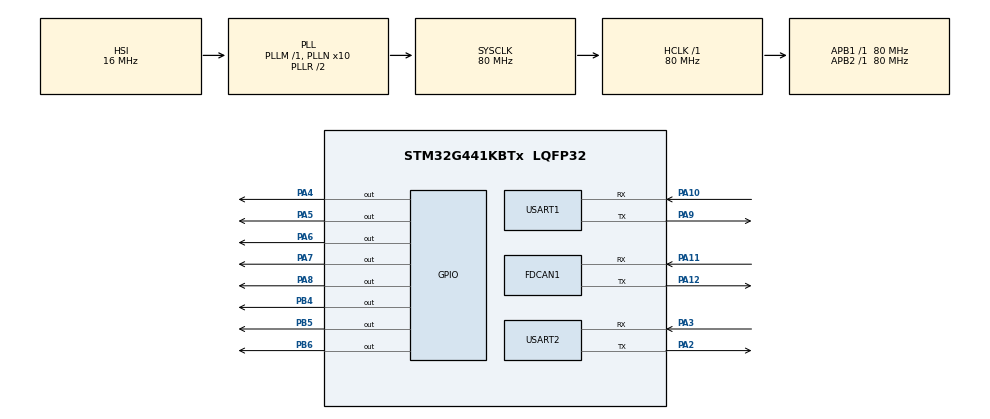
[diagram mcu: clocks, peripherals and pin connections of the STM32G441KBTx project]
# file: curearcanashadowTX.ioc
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FDCAN1.CalculateBaudRateNominal=2000000
FDCAN1.CalculateTimeBitNominal=500
FDCAN1.CalculateTimeQuantumNominal=50.0
FDCAN1.FrameFormat=FDCAN_FRAME_FD_NO_BRS
FDCAN1.NominalPrescaler=4
FDCAN1.NominalTimeSeg1=7
FDCAN1.NominalTimeSeg2=2
Mcu.Family=STM32G4
Mcu.Name=STM32G441KBTx
Mcu.Package=LQFP32
NVIC.FDCAN1_IT0_IRQn=true\:0\:0\:false\:false\:true\:true\:true\:true
NVIC.FDCAN1_IT1_IRQn=true\:0\:0\:false\:false\:true\:true\:true\:true
NVIC.PriorityGroup=NVIC_PRIORITYGROUP_4
PA10.Mode=Asynchronous
PA10.Signal=USART1_RX
PA11.Mode=FDCAN_Activate
PA11.Signal=FDCAN1_RX
PA12.Mode=FDCAN_Activate
PA12.Signal=FDCAN1_TX
PA13.Mode=Trace_Asynchronous_SW
PA13.Signal=SYS_JTMS-SWDIO
PA14.Mode=Trace_Asynchronous_SW
PA14.Signal=SYS_JTCK-SWCLK
PA2.Mode=Asynchronous
PA2.Signal=USART2_TX
PA3.Mode=Asynchronous
PA3.Signal=USART2_RX
PA4.Signal=GPIO_Output
PA5.Signal=GPIO_Output
PA6.Signal=GPIO_Output
PA7.Signal=GPIO_Output
PA8.Signal=GPIO_Output
PA9.Mode=Asynchronous
PA9.Signal=USART1_TX
PB3.Mode=Trace_Asynchronous_SW
PB3.Signal=SYS_JTDO-SWO
PB4.Signal=GPIO_Output
PB5.Signal=GPIO_Output
PB6.Signal=GPIO_Output
PF0-OSC_IN.Mode=HSE-External-Oscillator
PF0-OSC_IN.Signal=RCC_OSC_IN
PF1-OSC_OUT.Mode=HSE-External-Oscillator
PF1-OSC_OUT.Signal=RCC_OSC_OUT
ProjectManager.HeapSize=0x200
ProjectManager.StackSize=0x400
ProjectManager.TargetToolchain=STM32CubeIDE
RCC.ADC12Freq_Value=80000000
RCC.AHBFreq_Value=80000000
RCC.APB1Freq_Value=80000000
RCC.APB1TimFreq_Value=80000000
RCC.APB2Freq_Value=80000000
RCC.APB2TimFreq_Value=80000000
RCC.CortexFreq_Value=80000000
RCC.EXTERNAL_CLOCK_VALUE=12288000
RCC.HCLKFreq_Value=80000000
RCC.HSE_VALUE=16000000
RCC.HSI48_VALUE=48000000
RCC.HSI_VALUE=16000000
RCC.LSE_VALUE=32768
RCC.PLLN=10
RCC.SYSCLKFreq_VALUE=80000000
RCC.SYSCLKSource=RCC_SYSCLKSOURCE_PLLCLK
RCC.USBFreq_Value=80000000
RCC.VCOOutputFreq_Value=160000000
USART1.VirtualMode-Asynchronous=VM_ASYNC
USART2.VirtualMode-Asynchronous=VM_ASYNC
VP_SYS_VS_DBSignals.Mode=DisableDeadBatterySignals
board=custom

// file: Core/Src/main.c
/* USER CODE BEGIN Header */
/**
  ******************************************************************************
  * @file           : main.c
  * @brief          : Main program body
  ******************************************************************************
  * @attention
  *
  * Copyright (c) 2026 STMicroelectronics.
  * All rights reserved.
  *
  * This software is licensed under terms that can be found in the LICENSE file
  * in the root directory of this software component.
  * If no LICENSE file comes with this software, it is provided AS-IS.
  *
  ******************************************************************************
  */
/**
 * CAN FD -> UART(ESP32) bridge (この main.c 1 ファイルで完結)
 *
 * FDCAN1 で受信した全フレームを (ID 問わず、中身を解釈せず) USART2 で ESP32 に垂れ流す。
 * パースは ESP32 側で行うので、読み取る CAN を変えても STM32 側は変更不要。
 *
 * 安全方針 (既存の機構に影響を与えない / 取得して表示するだけ):
 *   - FDCAN はバスモニタ (リッスンオンリー) モード。ACK・エラーフレーム・送信を一切出さない
 *   - CAN 送信 API は一切呼ばない
 *   - USART2 は送信のみ (ESP32 からの入力は読まない)
 *   - 触る GPIO は FDCAN / USART1 / USART2 のピンと、基板上の LED のみ
 *
 * 配線 (TX-kiban / Cosmic_Juggernaut 回路図より):
 *   USART2 PA2(TX) -> ESP32 GPIO17 / PA3(RX) <- ESP32 GPIO16   921600bps (Bridge_Start で設定)
 *   USART1 PA9/PA10 = ST-Link VCP                                デバッグログ
 *   LED1: PA6=G (CAN 受信中), PA5=R (CAN エラー), PA4=B (転送バッファ溢れ)
 *
 * UART フレーム形式 (バイナリ, ESP32-controle/src/bridge_rx.cpp と一致させること):
 *   [0]    0xA5              SOF1
 *   [1]    0x5A              SOF2
 *   [2]    flags             bit0: 拡張ID, bit1: FDフレーム, bit2: BRS
 *   [3..6] CAN ID            uint32 little endian
 *   [7]    len               データ長 0..64
 *   [8..]  data[len]
 *   [last] CRC-8 (poly 0x07, init 0x00)   flags ～ data 末尾が対象
 *
 * 動作: 受信割り込みでリングバッファに積み、メインループで UART に吐き出す。
 *       バッファが溢れた場合は新しいフレームを捨てて drop をカウントする。
 *       1 秒ごとに受信統計と ID ごとの件数を USART1 に出す (診断用)。
 */
/* USER CODE END Header */
#include "main.h"
/* USER CODE BEGIN Includes */
#include <stdio.h>
#include <string.h>
/* USER CODE END Includes */
/* USER CODE BEGIN PD */
#define ESP_UART   huart2
#define DEBUG_UART huart1

/*
 * ESP32 への UART 速度。CubeMX の生成コードは 115200 だが、バス全体 (約 450 フレーム/秒 +
 * デバッグ ID) を流すには足りないので Bridge_Start() で上書きする (CubeMX 再生成でも消えない)。
 * ESP32-controle/include/config.h の BRIDGE_BAUD と一致させること。
 * 80MHz / 16 / 921600 -> 実際 919540bps (誤差 -0.2%)
 */
#define ESP_UART_BAUD 921600U

#define STATS_PERIOD_MS  1000U
#define RX_LED_HOLD_MS   100U

#define LED_RX_PORT  GPIOA
#define LED_RX_PIN   GPIO_PIN_6 /* LED1_G */
#define LED_ERR_PORT GPIOA
#define LED_ERR_PIN  GPIO_PIN_5 /* LED1_R */
#define LED_OVF_PORT GPIOA
#define LED_OVF_PIN  GPIO_PIN_4 /* LED1_B */

#define SOF1        0xA5U
#define SOF2        0x5AU
#define FLAG_EXT_ID 0x01U
#define FLAG_FD     0x02U
#define FLAG_BRS    0x04U

#define RING_SIZE   32U /* 2 の累乗 */
#define MAX_PAYLOAD 64U

#define ID_STATS_MAX 24U /* 既存ID + デバッグ8IDを同時に診断 */
#define DEBUG_V2_COUNT 8U
#define DEBUG_V2_TIMEOUT_MS 300U
/* USER CODE END PD */
FDCAN_HandleTypeDef hfdcan1;
UART_HandleTypeDef huart1;
UART_HandleTypeDef huart2;
/* USER CODE BEGIN PV */
/* 型は MAX_PAYLOAD などの定数 (PD) を使うのでここに置く */
typedef struct {
  uint32_t id;
  uint8_t flags;
  uint8_t len;
  uint8_t data[MAX_PAYLOAD];
} CanFrame;

typedef struct {
  uint32_t id;     /* bit31 = 拡張ID */
  uint32_t count;
  uint8_t len;     /* 最後に受信したデータ長 */
  uint8_t flags;   /* 最後に受信したフレームの FLAG_* */
} IdStat;

typedef struct {
  uint32_t id;
  volatile uint32_t validCount;
  volatile uint32_t badCount;
  volatile uint32_t seqGapCount;
  volatile uint32_t duplicateCount;
  volatile uint32_t lastTick;
  volatile uint32_t lastUptime;
  volatile uint8_t lastSeq;
  volatile uint8_t seen;
} DebugV2Stat;

static CanFrame ring[RING_SIZE];
static volatile uint32_t ringHead = 0U; /* ISR が進める */
static volatile uint32_t ringTail = 0U; /* メインループが進める */

static volatile uint32_t rxCount = 0U;
static volatile uint32_t dropCount = 0U;
static volatile uint32_t canLostCount = 0U;
static volatile uint32_t lastRxTick = 0U;
static uint32_t fwdCount = 0U;
static uint32_t uartErrorCount = 0U;
static uint32_t lastStatsTick = 0U;
static uint32_t lastDropCount = 0U;

/* 診断用: 1 秒間に受信した ID ごとの件数 (ISR で集計、ログ出力後にクリア) */
static IdStat idStats[ID_STATS_MAX];
static volatile uint32_t idStatsNum = 0U;
static volatile uint32_t idStatsOverflow = 0U; /* 種類が多すぎて数えられなかった件数 */

static DebugV2Stat debugV2[DEBUG_V2_COUNT] = {
  {.id = 0x301U}, {.id = 0x302U}, {.id = 0x303U}, {.id = 0x310U},
  {.id = 0x321U}, {.id = 0x322U}, {.id = 0x323U}, {.id = 0x324U}
};

static const uint8_t dlcToLen[16] = {0, 1, 2, 3, 4, 5, 6, 7,
                                     8, 12, 16, 20, 24, 32, 48, 64};
/* USER CODE END PV */
void SystemClock_Config(void);
static void MX_GPIO_Init(void);
static void MX_FDCAN1_Init(void);
static void MX_USART1_UART_Init(void);
static void MX_USART2_UART_Init(void);
/* USER CODE BEGIN PFP */
static void DebugPrint(const char *str);
static HAL_StatusTypeDef Bridge_Start(void);
static void Bridge_Poll(void);
/* USER CODE END PFP */
int main(void)
{
  /* MCU Configuration--------------------------------------------------------*/
  /* Reset of all peripherals, Initializes the Flash interface and the Systick. */
  HAL_Init();
  /* Configure the system clock */
  SystemClock_Config();
  /* Initialize all configured peripherals */
  MX_GPIO_Init();
  MX_USART1_UART_Init();
  MX_USART2_UART_Init();
  DebugPrint("\r\nBOOT: UART INIT OK\r\n");
  MX_FDCAN1_Init();
  DebugPrint("BOOT: FDCAN INIT OK\r\n");
  /* USER CODE BEGIN 2 */
  if (Bridge_Start() != HAL_OK)
  {
    DebugPrint("BRIDGE ERROR: FDCAN start failed\r\n");
    Error_Handler();
  }
  DebugPrint("BOOT: FDCAN START OK\r\n");
  DebugPrint("============================\r\n");
  DebugPrint("CAN FD RX -> UART(ESP32) BRIDGE\r\n");
  DebugPrint("CAN  : FD without BRS, 2 Mbps, all IDs, LISTEN ONLY\r\n");
  DebugPrint("V2   : watch 301-303,310,321-324 / 24B / timeout 300ms\r\n");
  DebugPrint("ESP  : USART2 PA2/PA3 921600\r\n");
  DebugPrint("============================\r\n");
/* USER CODE END 2 */
  /* Infinite loop */
  /* USER CODE BEGIN WHILE */
  while (1)
  {
    Bridge_Poll();
    /* CAN 受信割り込み / SysTick まで寝る */
    __WFI();
  }
}
void SystemClock_Config(void)
{
  RCC_OscInitTypeDef RCC_OscInitStruct = {0};
  RCC_ClkInitTypeDef RCC_ClkInitStruct = {0};
  /** Configure the main internal regulator output voltage
  */
  HAL_PWREx_ControlVoltageScaling(PWR_REGULATOR_VOLTAGE_SCALE1);
  /** Initializes the RCC Oscillators according to the specified parameters
  * in the RCC_OscInitTypeDef structure.
  */
  RCC_OscInitStruct.OscillatorType = RCC_OSCILLATORTYPE_HSI;
  RCC_OscInitStruct.HSIState = RCC_HSI_ON;
  RCC_OscInitStruct.HSICalibrationValue = RCC_HSICALIBRATION_DEFAULT;
  RCC_OscInitStruct.PLL.PLLState = RCC_PLL_ON;
  RCC_OscInitStruct.PLL.PLLSource = RCC_PLLSOURCE_HSI;
  RCC_OscInitStruct.PLL.PLLM = RCC_PLLM_DIV1;
  RCC_OscInitStruct.PLL.PLLN = 10;
  RCC_OscInitStruct.PLL.PLLP = RCC_PLLP_DIV2;
  RCC_OscInitStruct.PLL.PLLQ = RCC_PLLQ_DIV2;
  RCC_OscInitStruct.PLL.PLLR = RCC_PLLR_DIV2;
  if (HAL_RCC_OscConfig(&RCC_OscInitStruct) != HAL_OK)
  {
    Error_Handler();
  }
  /** Initializes the CPU, AHB and APB buses clocks
  */
  RCC_ClkInitStruct.ClockType = RCC_CLOCKTYPE_HCLK|RCC_CLOCKTYPE_SYSCLK
                              |RCC_CLOCKTYPE_PCLK1|RCC_CLOCKTYPE_PCLK2;
  RCC_ClkInitStruct.SYSCLKSource = RCC_SYSCLKSOURCE_PLLCLK;
  RCC_ClkInitStruct.AHBCLKDivider = RCC_SYSCLK_DIV1;
  RCC_ClkInitStruct.APB1CLKDivider = RCC_HCLK_DIV1;
  RCC_ClkInitStruct.APB2CLKDivider = RCC_HCLK_DIV1;
  if (HAL_RCC_ClockConfig(&RCC_ClkInitStruct, FLASH_LATENCY_2) != HAL_OK)
  {
    Error_Handler();
  }
}
static void MX_FDCAN1_Init(void)
{
  hfdcan1.Instance = FDCAN1;
  hfdcan1.Init.ClockDivider = FDCAN_CLOCK_DIV1;
  hfdcan1.Init.FrameFormat = FDCAN_FRAME_FD_NO_BRS;
  hfdcan1.Init.Mode = FDCAN_MODE_BUS_MONITORING;
  hfdcan1.Init.AutoRetransmission = DISABLE;
  hfdcan1.Init.TransmitPause = DISABLE;
  hfdcan1.Init.ProtocolException = DISABLE;
  hfdcan1.Init.NominalPrescaler = 4;
  hfdcan1.Init.NominalSyncJumpWidth = 1;
  hfdcan1.Init.NominalTimeSeg1 = 7;
  hfdcan1.Init.NominalTimeSeg2 = 2;
  hfdcan1.Init.DataPrescaler = 1;
  hfdcan1.Init.DataSyncJumpWidth = 1;
  hfdcan1.Init.DataTimeSeg1 = 1;
  hfdcan1.Init.DataTimeSeg2 = 1;
  hfdcan1.Init.StdFiltersNbr = 0;
  hfdcan1.Init.ExtFiltersNbr = 0;
  hfdcan1.Init.TxFifoQueueMode = FDCAN_TX_FIFO_OPERATION;
  if (HAL_FDCAN_Init(&hfdcan1) != HAL_OK)
  {
    Error_Handler();
  }
}
static void MX_USART1_UART_Init(void)
{
  huart1.Instance = USART1;
  huart1.Init.BaudRate = 115200;
  huart1.Init.WordLength = UART_WORDLENGTH_8B;
  huart1.Init.StopBits = UART_STOPBITS_1;
  huart1.Init.Parity = UART_PARITY_NONE;
  huart1.Init.Mode = UART_MODE_TX_RX;
  huart1.Init.HwFlowCtl = UART_HWCONTROL_NONE;
  huart1.Init.OverSampling = UART_OVERSAMPLING_16;
  huart1.Init.OneBitSampling = UART_ONE_BIT_SAMPLE_DISABLE;
  huart1.Init.ClockPrescaler = UART_PRESCALER_DIV1;
  huart1.AdvancedInit.AdvFeatureInit = UART_ADVFEATURE_NO_INIT;
  if (HAL_UART_Init(&huart1) != HAL_OK)
  {
    Error_Handler();
  }
  if (HAL_UARTEx_SetTxFifoThreshold(&huart1, UART_TXFIFO_THRESHOLD_1_8) != HAL_OK)
  {
    Error_Handler();
  }
  if (HAL_UARTEx_SetRxFifoThreshold(&huart1, UART_RXFIFO_THRESHOLD_1_8) != HAL_OK)
  {
    Error_Handler();
  }
  if (HAL_UARTEx_DisableFifoMode(&huart1) != HAL_OK)
  {
    Error_Handler();
  }
}
static void MX_USART2_UART_Init(void)
{
  huart2.Instance = USART2;
  huart2.Init.BaudRate = 115200;
  huart2.Init.WordLength = UART_WORDLENGTH_8B;
  huart2.Init.StopBits = UART_STOPBITS_1;
  huart2.Init.Parity = UART_PARITY_NONE;
  huart2.Init.Mode = UART_MODE_TX_RX;
  huart2.Init.HwFlowCtl = UART_HWCONTROL_NONE;
  huart2.Init.OverSampling = UART_OVERSAMPLING_16;
  huart2.Init.OneBitSampling = UART_ONE_BIT_SAMPLE_DISABLE;
  huart2.Init.ClockPrescaler = UART_PRESCALER_DIV1;
  huart2.AdvancedInit.AdvFeatureInit = UART_ADVFEATURE_NO_INIT;
  if (HAL_UART_Init(&huart2) != HAL_OK)
  {
    Error_Handler();
  }
  if (HAL_UARTEx_SetTxFifoThreshold(&huart2, UART_TXFIFO_THRESHOLD_1_8) != HAL_OK)
  {
    Error_Handler();
  }
  if (HAL_UARTEx_SetRxFifoThreshold(&huart2, UART_RXFIFO_THRESHOLD_1_8) != HAL_OK)
  {
    Error_Handler();
  }
  if (HAL_UARTEx_DisableFifoMode(&huart2) != HAL_OK)
  {
    Error_Handler();
  }
}
static void MX_GPIO_Init(void)
{
  GPIO_InitTypeDef GPIO_InitStruct = {0};
  /* GPIO Ports Clock Enable */
  __HAL_RCC_GPIOF_CLK_ENABLE();
  __HAL_RCC_GPIOA_CLK_ENABLE();
  __HAL_RCC_GPIOB_CLK_ENABLE();
  /*Configure GPIO pin Output Level */
  HAL_GPIO_WritePin(GPIOA, GPIO_PIN_4|GPIO_PIN_5|GPIO_PIN_6|GPIO_PIN_7
                          |GPIO_PIN_8, GPIO_PIN_RESET);
  /*Configure GPIO pin Output Level */
  HAL_GPIO_WritePin(GPIOB, GPIO_PIN_4|GPIO_PIN_5|GPIO_PIN_6, GPIO_PIN_RESET);
  /*Configure GPIO pins : PA4 PA5 PA6 PA7
                           PA8 */
  GPIO_InitStruct.Pin = GPIO_PIN_4|GPIO_PIN_5|GPIO_PIN_6|GPIO_PIN_7
                          |GPIO_PIN_8;
  GPIO_InitStruct.Mode = GPIO_MODE_OUTPUT_PP;
  GPIO_InitStruct.Pull = GPIO_NOPULL;
  GPIO_InitStruct.Speed = GPIO_SPEED_FREQ_LOW;
  HAL_GPIO_Init(GPIOA, &GPIO_InitStruct);
  /*Configure GPIO pins : PB4 PB5 PB6 */
  GPIO_InitStruct.Pin = GPIO_PIN_4|GPIO_PIN_5|GPIO_PIN_6;
  GPIO_InitStruct.Mode = GPIO_MODE_OUTPUT_PP;
  GPIO_InitStruct.Pull = GPIO_NOPULL;
  GPIO_InitStruct.Speed = GPIO_SPEED_FREQ_LOW;
  HAL_GPIO_Init(GPIOB, &GPIO_InitStruct);
}
/* USER CODE BEGIN 4 */
static uint8_t Crc8(const uint8_t *p, uint32_t n)
{
  uint8_t crc = 0x00U;
  while (n-- > 0U)
  {
    crc ^= *p++;
    for (uint8_t i = 0U; i < 8U; i++)
    {
      crc = (crc & 0x80U) ? (uint8_t)((crc << 1) ^ 0x07U) : (uint8_t)(crc << 1);
    }
  }
  return crc;
}

static HAL_StatusTypeDef Bridge_Start(void)
{
  ESP_UART.Init.BaudRate = ESP_UART_BAUD;
  if (HAL_UART_Init(&ESP_UART) != HAL_OK)
  {
    return HAL_ERROR;
  }

  /*
   * 既存の CAN バスに一切影響を与えないよう、バスモニタ (リッスンオンリー) モードに固定する。
   * このモードでは ACK・エラーフレーム・送信のいずれもハードウェアレベルで出ない。
   * CubeMX で再生成して Mode が戻っても、ここで強制的にモニタモードにする。
   */
  if (hfdcan1.Init.Mode != FDCAN_MODE_BUS_MONITORING)
  {
    hfdcan1.Init.Mode = FDCAN_MODE_BUS_MONITORING;
    if (HAL_FDCAN_Init(&hfdcan1) != HAL_OK)
    {
      return HAL_ERROR;
    }
  }
  /* 念のためレジスタでも確認し、モニタモードでなければ CAN を起動しない */
  if (READ_BIT(hfdcan1.Instance->CCCR, FDCAN_CCCR_MON) == 0U)
  {
    return HAL_ERROR;
  }

  /* フィルタ無し: 全 ID を FIFO0 へ。リモートフレームは捨てる */
  if (HAL_FDCAN_ConfigGlobalFilter(&hfdcan1, FDCAN_ACCEPT_IN_RX_FIFO0,
                                   FDCAN_ACCEPT_IN_RX_FIFO0, FDCAN_REJECT_REMOTE,
                                   FDCAN_REJECT_REMOTE) != HAL_OK)
  {
    return HAL_ERROR;
  }
  /* 取りこぼすなら古い方を捨てる */
  if (HAL_FDCAN_ConfigRxFifoOverwrite(&hfdcan1, FDCAN_RX_FIFO0,
                                      FDCAN_RX_FIFO_OVERWRITE) != HAL_OK)
  {
    return HAL_ERROR;
  }
  if (HAL_FDCAN_ActivateNotification(&hfdcan1,
          FDCAN_IT_RX_FIFO0_NEW_MESSAGE | FDCAN_IT_RX_FIFO0_MESSAGE_LOST,
          0U) != HAL_OK)
  {
    return HAL_ERROR;
  }
  if (HAL_FDCAN_Start(&hfdcan1) != HAL_OK)
  {
    return HAL_ERROR;
  }

  lastStatsTick = HAL_GetTick();
  return HAL_OK;
}

/* 割り込みコンテキスト: ID ごとの受信件数を数える */
static void CountId(const FDCAN_RxHeaderTypeDef *hdr)
{
  uint32_t key = hdr->Identifier | ((hdr->IdType == FDCAN_EXTENDED_ID) ? 0x80000000U : 0U);
  uint8_t flags = 0U;
  if (hdr->IdType == FDCAN_EXTENDED_ID) flags |= FLAG_EXT_ID;
  if (hdr->FDFormat == FDCAN_FD_CAN) flags |= FLAG_FD;
  if (hdr->BitRateSwitch == FDCAN_BRS_ON) flags |= FLAG_BRS;

  uint32_t n = idStatsNum;
  for (uint32_t i = 0U; i < n; i++)
  {
    if (idStats[i].id == key)
    {
      idStats[i].count++;
      idStats[i].len = dlcToLen[hdr->DataLength & 0x0FU];
      idStats[i].flags = flags;
      return;
    }
  }
  if (n < ID_STATS_MAX)
  {
    idStats[n].id = key;
    idStats[n].count = 1U;
    idStats[n].len = dlcToLen[hdr->DataLength & 0x0FU];
    idStats[n].flags = flags;
    idStatsNum = n + 1U;
  }
  else
  {
    idStatsOverflow++;
  }
}

/* 1 秒分の ID 集計をログに出してクリアする */
static void LogIdStats(void)
{
  IdStat snap[ID_STATS_MAX];
  uint32_t n;
  uint32_t overflow;

  __disable_irq();
  n = idStatsNum;
  memcpy(snap, idStats, n * sizeof(IdStat));
  overflow = idStatsOverflow;
  idStatsNum = 0U;
  idStatsOverflow = 0U;
  __enable_irq();

  char line[64];
  (void)HAL_UART_Transmit(&DEBUG_UART, (uint8_t *)"ids:", 4U, 100U);
  if (n == 0U)
  {
    (void)HAL_UART_Transmit(&DEBUG_UART, (uint8_t *)" (none)", 7U, 100U);
  }
  for (uint32_t i = 0U; i < n; i++)
  {
    /* 例: 0x301x10/24B/FD  (拡張IDは X、BRS ON は +BRS) */
    snprintf(line, sizeof(line), " 0x%03lX%sx%lu/%uB/%s%s",
             (unsigned long)(snap[i].id & 0x1FFFFFFFU),
             (snap[i].flags & FLAG_EXT_ID) ? "X" : "",
             (unsigned long)snap[i].count, (unsigned)snap[i].len,
             (snap[i].flags & FLAG_FD) ? "FD" : "CC",
             (snap[i].flags & FLAG_BRS) ? "+BRS" : "");
    (void)HAL_UART_Transmit(&DEBUG_UART, (uint8_t *)line, (uint16_t)strlen(line), 100U);
  }
  if (overflow != 0U)
  {
    snprintf(line, sizeof(line), " (+%lu other)", (unsigned long)overflow);
    (void)HAL_UART_Transmit(&DEBUG_UART, (uint8_t *)line, (uint16_t)strlen(line), 100U);
  }
  (void)HAL_UART_Transmit(&DEBUG_UART, (uint8_t *)"\r\n", 2U, 100U);
}

static uint32_t ReadU32Le(const uint8_t *p)
{
  return (uint32_t)p[0] | ((uint32_t)p[1] << 8) |
         ((uint32_t)p[2] << 16) | ((uint32_t)p[3] << 24);
}

/* V2 診断のみ。全フレームはこれとは無関係にそのまま転送する */
static void DebugV2_Observe(const FDCAN_RxHeaderTypeDef *hdr, const uint8_t *data)
{
  DebugV2Stat *stat = NULL;
  for (uint32_t i = 0U; i < DEBUG_V2_COUNT; i++)
  {
    if (debugV2[i].id == hdr->Identifier)
    {
      stat = &debugV2[i];
      break;
    }
  }
  if (stat == NULL)
  {
    return;
  }

  if (hdr->IdType != FDCAN_STANDARD_ID ||
      hdr->RxFrameType != FDCAN_DATA_FRAME ||
      hdr->FDFormat != FDCAN_FD_CAN ||
      hdr->BitRateSwitch != FDCAN_BRS_OFF ||
      hdr->DataLength != FDCAN_DLC_BYTES_24 ||
      data[0] != 2U)
  {
    stat->badCount++;
    return; /* 不正なデータで途絶判定を更新しない */
  }

  uint8_t sequence = data[1];
  uint32_t uptime = ReadU32Le(&data[4]);
  if (stat->seen != 0U)
  {
    uint8_t delta = (uint8_t)(sequence - stat->lastSeq);
    if (delta == 0U && uptime == stat->lastUptime)
    {
      stat->duplicateCount++;
      return; /* 完全な重複は新しい更新の証拠にならない */
    }
    if (delta > 1U && uptime >= stat->lastUptime)
    {
      stat->seqGapCount += (uint32_t)(delta - 1U);
    }
    /* 稼働時間の巻き戻りは送信元の再起動とみなし、欠落に数えない */
  }

  stat->lastSeq = sequence;
  stat->lastUptime = uptime;
  stat->lastTick = HAL_GetTick();
  stat->validCount++;
  stat->seen = 1U;
}

static void DebugV2_Log(void)
{
  char line[440];
  uint32_t now = HAL_GetTick();
  int used = snprintf(line, sizeof(line), "v2:");
  if (used < 0) return;

  for (uint32_t i = 0U; i < DEBUG_V2_COUNT && (size_t)used < sizeof(line); i++)
  {
    DebugV2Stat snap;
    __disable_irq();
    snap = debugV2[i];
    __enable_irq();

    const char *state = (snap.seen == 0U) ? "--" :
        ((uint32_t)(now - snap.lastTick) > DEBUG_V2_TIMEOUT_MS) ? "TO" : "OK";
    int written = snprintf(&line[used], sizeof(line) - (size_t)used,
        " %03lX:%s/s%u/v%lu/g%lu/b%lu/d%lu",
        (unsigned long)snap.id, state, (unsigned)snap.lastSeq,
        (unsigned long)snap.validCount, (unsigned long)snap.seqGapCount,
        (unsigned long)snap.badCount, (unsigned long)snap.duplicateCount);
    if (written < 0) return;
    if ((size_t)written >= sizeof(line) - (size_t)used)
    {
      used = (int)sizeof(line) - 1;
      break;
    }
    used += written;
  }
  if ((size_t)used + 2U < sizeof(line))
  {
    line[used++] = '\r';
    line[used++] = '\n';
    line[used] = '\0';
  }
  (void)HAL_UART_Transmit(&DEBUG_UART, (uint8_t *)line, (uint16_t)used, 100U);
}

/* 割り込みコンテキスト */
void HAL_FDCAN_RxFifo0Callback(FDCAN_HandleTypeDef *hfdcan, uint32_t RxFifo0ITs)
{
  FDCAN_RxHeaderTypeDef hdr;
  uint8_t buf[MAX_PAYLOAD];

  if ((RxFifo0ITs & FDCAN_IT_RX_FIFO0_MESSAGE_LOST) != 0U)
  {
    canLostCount++;
  }
  if ((RxFifo0ITs & FDCAN_IT_RX_FIFO0_NEW_MESSAGE) == 0U)
  {
    return;
  }

  while (HAL_FDCAN_GetRxFifoFillLevel(hfdcan, FDCAN_RX_FIFO0) > 0U)
  {
    if (HAL_FDCAN_GetRxMessage(hfdcan, FDCAN_RX_FIFO0, &hdr, buf) != HAL_OK)
    {
      break;
    }
    rxCount++;
    lastRxTick = HAL_GetTick();
    CountId(&hdr);
    DebugV2_Observe(&hdr, buf);

    uint32_t head = ringHead;
    if ((uint32_t)(head - ringTail) >= RING_SIZE)
    {
      dropCount++;
      continue;
    }

    CanFrame *f = &ring[head & (RING_SIZE - 1U)];
    f->id = hdr.Identifier;
    f->flags = 0U;
    if (hdr.IdType == FDCAN_EXTENDED_ID) f->flags |= FLAG_EXT_ID;
    if (hdr.FDFormat == FDCAN_FD_CAN) f->flags |= FLAG_FD;
    if (hdr.BitRateSwitch == FDCAN_BRS_ON) f->flags |= FLAG_BRS;
    f->len = dlcToLen[hdr.DataLength & 0x0FU];
    memcpy(f->data, buf, f->len);

    ringHead = head + 1U;
  }
}

static HAL_StatusTypeDef SendFrame(const CanFrame *f)
{
  uint8_t out[2 + 1 + 4 + 1 + MAX_PAYLOAD + 1];
  uint32_t n = 0U;

  out[n++] = SOF1;
  out[n++] = SOF2;
  out[n++] = f->flags;
  out[n++] = (uint8_t)(f->id);
  out[n++] = (uint8_t)(f->id >> 8);
  out[n++] = (uint8_t)(f->id >> 16);
  out[n++] = (uint8_t)(f->id >> 24);
  out[n++] = f->len;
  memcpy(&out[n], f->data, f->len);
  n += f->len;
  out[n] = Crc8(&out[2], n - 2U);
  n++;

  return HAL_UART_Transmit(&ESP_UART, out, (uint16_t)n, 50U);
}

static void Bridge_Poll(void)
{
  while (ringTail != ringHead)
  {
    HAL_StatusTypeDef uartStatus =
        SendFrame(&ring[ringTail & (RING_SIZE - 1U)]);
    ringTail = ringTail + 1U;
    if (uartStatus == HAL_OK)
      fwdCount++;
    else
      uartErrorCount++;
  }

  uint32_t now = HAL_GetTick();

  HAL_GPIO_WritePin(LED_RX_PORT, LED_RX_PIN,
                    ((uint32_t)(now - lastRxTick) < RX_LED_HOLD_MS && rxCount > 0U)
                        ? GPIO_PIN_SET : GPIO_PIN_RESET);

  if ((uint32_t)(now - lastStatsTick) >= STATS_PERIOD_MS)
  {
    lastStatsTick += STATS_PERIOD_MS;

    FDCAN_ProtocolStatusTypeDef ps;
    FDCAN_ErrorCountersTypeDef ec;
    char msg[180];
    HAL_FDCAN_GetProtocolStatus(&hfdcan1, &ps);
    HAL_FDCAN_GetErrorCounters(&hfdcan1, &ec);

    HAL_GPIO_WritePin(LED_ERR_PORT, LED_ERR_PIN,
                      (ps.BusOff != 0U || ps.ErrorPassive != 0U) ? GPIO_PIN_SET : GPIO_PIN_RESET);
    uint32_t drops = dropCount;
    HAL_GPIO_WritePin(LED_OVF_PORT, LED_OVF_PIN,
                      (drops != lastDropCount) ? GPIO_PIN_SET : GPIO_PIN_RESET);
    lastDropCount = drops;

    snprintf(msg, sizeof(msg),
             "rx=%lu fwd=%lu ring_drop=%lu can_lost=%lu uart_err=%lu rec=%lu err_passive=%lu last_err=%lu data_err=%lu\r\n",
             (unsigned long)rxCount, (unsigned long)fwdCount, (unsigned long)drops,
             (unsigned long)canLostCount, (unsigned long)uartErrorCount,
             (unsigned long)ec.RxErrorCnt, (unsigned long)ps.ErrorPassive,
             (unsigned long)ps.LastErrorCode, (unsigned long)ps.DataLastErrorCode);
    (void)HAL_UART_Transmit(&DEBUG_UART, (uint8_t *)msg, (uint16_t)strlen(msg), 100U);
    LogIdStats();
    DebugV2_Log();
  }
}

static void DebugPrint(const char *str)
{
  /* ログは USART1 (ST-Link VCP) のみ。USART2 は ESP32 専用 */
  (void)HAL_UART_Transmit(&huart1, (uint8_t *)str, (uint16_t)strlen(str), 100U);
}
/* USER CODE END 4 */
void Error_Handler(void)
{
  __disable_irq();
  while (1)
  {
  }
}
